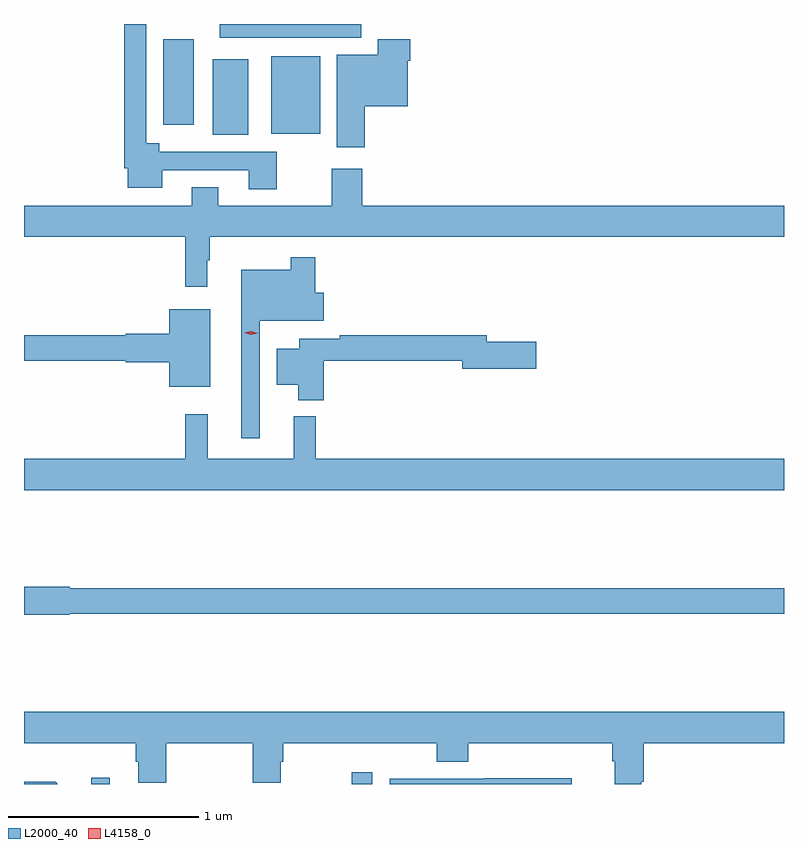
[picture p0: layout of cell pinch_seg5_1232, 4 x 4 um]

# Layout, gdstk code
import gdstk
lib = gdstk.Library(unit=1e-6, precision=1e-09)
def R(c, l, rs):  # rectangles x0, y0, x1, y1
    for r in rs: c.add(gdstk.rectangle(r[:2], r[2:], *l))
def P(c, l, *ps):  # polygons
    for p in ps: c.add(gdstk.Polygon(p, *l))
L2000_40 = (2000, 40)
L4158_0 = (4158, 0)

pinch_seg5_1232 = lib.new_cell('pinch_seg5_1232')
R(pinch_seg5_1232, L2000_40, [(467.976,865.869,468.073,865.903), (469.347,865.869,469.455,865.93), (468.614,869.285,468.802,869.683), (468.923,869.291,469.18,869.698), (468.353,869.34,468.514,869.788), (468.651,869.796,469.396,869.869)])
P(pinch_seg5_1232, L2000_40, [(468.951,869.196),(468.334,869.196),(468.334,869.242),(468.264,869.242),(468.264,869.869),(468.148,869.869),(468.148,869.11),(468.167,869.11),(468.167,869.006),(468.349,869.006),(468.349,869.1),(468.803,869.1),(468.803,868.998),(468.951,868.998)],
  [(469.415,869.435),(469.642,869.435),(469.642,869.675),(469.655,869.675),(469.655,869.788),(469.484,869.788),(469.484,869.707),(469.268,869.707),(469.268,869.22),(469.415,869.22)],
  [(468.586,868.625),(468.598,868.625),(468.598,868.748),(471.621,868.748),(471.621,868.912),(469.4,868.912),(469.4,869.107),(469.24,869.107),(469.24,868.912),(468.643,868.912),(468.643,869.011),(468.503,869.011),(468.503,868.912),(467.621,868.912),(467.621,868.748),(468.469,868.748),(468.469,868.485),(468.586,868.485)],
  [(468.861,868.307),(469.198,868.307),(469.198,868.455),(469.154,868.455),(469.154,868.642),(469.026,868.642),(469.026,868.576),(468.764,868.576),(468.764,867.69),(468.861,867.69)],
  [(468.601,868.369),(468.386,868.369),(468.386,868.24),(468.156,868.24),(468.156,868.232),(467.621,868.232),(467.621,868.096),(468.156,868.096),(468.156,868.088),(468.386,868.088),(468.386,867.959),(468.601,867.959)],
  [(469.199,868.096),(469.928,868.096),(469.928,868.054),(470.317,868.054),(470.317,868.196),(470.056,868.196),(470.056,868.232),(469.282,868.232),(469.282,868.212),(469.07,868.212),(469.07,868.159),(468.95,868.159),(468.95,867.971),(469.064,867.971),(469.064,867.89),(469.199,867.89)],
  [(471.621,867.58),(469.157,867.58),(469.157,867.805),(469.04,867.805),(469.04,867.58),(468.587,867.58),(468.587,867.814),(468.469,867.814),(468.469,867.58),(467.621,867.58),(467.621,867.416),(471.621,867.416)],
  [(467.862,866.764),(471.621,866.764),(471.621,866.9),(467.862,866.9),(467.862,866.906),(467.621,866.906),(467.621,866.759),(467.862,866.759)],
  [(467.621,866.084),(468.209,866.084),(468.209,865.986),(468.221,865.986),(468.221,865.876),(468.369,865.876),(468.369,866.084),(468.826,866.084),(468.826,865.876),(468.973,865.876),(468.973,865.986),(468.986,865.986),(468.986,866.084),(469.793,866.084),(469.793,865.985),(469.958,865.985),(469.958,866.084),(470.717,866.084),(470.717,865.988),(470.729,865.988),(470.729,865.869),(470.869,865.869),(470.869,865.882),(470.882,865.882),(470.882,866.084),(471.621,866.084),(471.621,866.248),(467.621,866.248)],
  [(470.505,865.898),(470.041,865.898),(470.041,865.896),(469.545,865.896),(469.545,865.869),(470.505,865.869)],
  [(467.788,865.88),(467.621,865.88),(467.621,865.869),(467.799,865.869)])
P(pinch_seg5_1232, L4158_0, [(468.814,868.233),(468.78,868.245),(468.78,868.245),(468.78,868.245),(468.816,868.253),(468.85,868.241),(468.85,868.241),(468.85,868.241)])

lib.write_gds('pinch_seg5_1232.gds')
